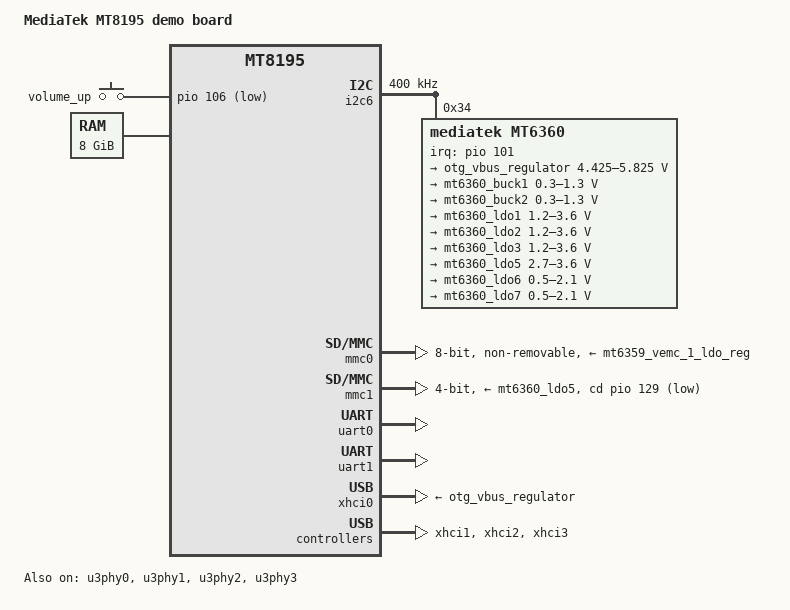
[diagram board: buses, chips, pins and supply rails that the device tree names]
// SPDX-License-Identifier: (GPL-2.0 OR MIT)
/*
 * Copyright (C) 2022 BayLibre, SAS.
 * Author: Fabien Parent <fparent@baylibre.com>
 */
/dts-v1/;

#include "mt8195.dtsi"
#include "mt6359.dtsi"

#include <dt-bindings/gpio/gpio.h>
#include <dt-bindings/input/input.h>
#include <dt-bindings/pinctrl/mt8195-pinfunc.h>
#include <dt-bindings/regulator/mediatek,mt6360-regulator.h>

/ {
	model = "MediaTek MT8195 demo board";
	compatible = "mediatek,mt8195-demo", "mediatek,mt8195";

	aliases {
		serial0 = &uart0;
	};

	chosen {
		stdout-path = "serial0:921600n8";
	};

	firmware {
		optee {
			compatible = "linaro,optee-tz";
			method = "smc";
		};
	};

	gpio-keys {
		compatible = "gpio-keys";
		pinctrl-names = "default";
		pinctrl-0 = <&gpio_keys_pins>;

		key-0 {
			gpios = <&pio 106 GPIO_ACTIVE_LOW>;
			label = "volume_up";
			linux,code = <KEY_VOLUMEUP>;
			wakeup-source;
			debounce-interval = <15>;
		};
	};

	memory@40000000 {
		device_type = "memory";
		reg = <0 0x40000000 0x2 0x00000000>;
	};

	reserved-memory {
		#address-cells = <2>;
		#size-cells = <2>;
		ranges;

		/*
		 * 12 MiB reserved for OP-TEE (BL32)
		 * +-----------------------+ 0x43e0_0000
		 * |      SHMEM 2MiB       |
		 * +-----------------------+ 0x43c0_0000
		 * |        | TA_RAM  8MiB |
		 * + TZDRAM +--------------+ 0x4340_0000
		 * |        | TEE_RAM 2MiB |
		 * +-----------------------+ 0x4320_0000
		 */
		optee_reserved: optee@43200000 {
			no-map;
			reg = <0 0x43200000 0 0x00c00000>;
		};

		scp_mem: memory@50000000 {
			compatible = "shared-dma-pool";
			reg = <0 0x50000000 0 0x2900000>;
			no-map;
		};

		vpu_mem: memory@53000000 {
			compatible = "shared-dma-pool";
			reg = <0 0x53000000 0 0x1400000>; /* 20 MB */
		};

		/* 2 MiB reserved for ARM Trusted Firmware (BL31) */
		bl31_secmon_mem: memory@54600000 {
			no-map;
			reg = <0 0x54600000 0x0 0x200000>;
		};

		snd_dma_mem: memory@60000000 {
			compatible = "shared-dma-pool";
			reg = <0 0x60000000 0 0x1100000>;
			no-map;
		};

		apu_mem: memory@62000000 {
			compatible = "shared-dma-pool";
			reg = <0 0x62000000 0 0x1400000>; /* 20 MB */
		};
	};
};

&i2c6 {
	clock-frequency = <400000>;
	pinctrl-0 = <&i2c6_pins>;
	pinctrl-names = "default";
	status = "okay";

	mt6360: pmic@34 {
		compatible = "mediatek,mt6360";
		reg = <0x34>;
		interrupt-controller;
		interrupts-extended = <&pio 101 IRQ_TYPE_EDGE_FALLING>;
		interrupt-names = "IRQB";

		charger {
			compatible = "mediatek,mt6360-chg";
			richtek,vinovp-microvolt = <14500000>;

			otg_vbus_regulator: usb-otg-vbus-regulator {
				regulator-compatible = "usb-otg-vbus";
				regulator-name = "usb-otg-vbus";
				regulator-min-microvolt = <4425000>;
				regulator-max-microvolt = <5825000>;
			};
		};

		regulator {
			compatible = "mediatek,mt6360-regulator";
			LDO_VIN3-supply = <&mt6360_buck2>;

			mt6360_buck1: buck1 {
				regulator-compatible = "BUCK1";
				regulator-name = "mt6360,buck1";
				regulator-min-microvolt = <300000>;
				regulator-max-microvolt = <1300000>;
				regulator-allowed-modes = <MT6360_OPMODE_NORMAL
							   MT6360_OPMODE_LP
							   MT6360_OPMODE_ULP>;
				regulator-always-on;
			};

			mt6360_buck2: buck2 {
				regulator-compatible = "BUCK2";
				regulator-name = "mt6360,buck2";
				regulator-min-microvolt = <300000>;
				regulator-max-microvolt = <1300000>;
				regulator-allowed-modes = <MT6360_OPMODE_NORMAL
							   MT6360_OPMODE_LP
							   MT6360_OPMODE_ULP>;
				regulator-always-on;
			};

			mt6360_ldo1: ldo1 {
				regulator-compatible = "LDO1";
				regulator-name = "mt6360,ldo1";
				regulator-min-microvolt = <1200000>;
				regulator-max-microvolt = <3600000>;
				regulator-allowed-modes = <MT6360_OPMODE_NORMAL
							   MT6360_OPMODE_LP>;
			};

			mt6360_ldo2: ldo2 {
				regulator-compatible = "LDO2";
				regulator-name = "mt6360,ldo2";
				regulator-min-microvolt = <1200000>;
				regulator-max-microvolt = <3600000>;
				regulator-allowed-modes = <MT6360_OPMODE_NORMAL
							   MT6360_OPMODE_LP>;
			};

			mt6360_ldo3: ldo3 {
				regulator-compatible = "LDO3";
				regulator-name = "mt6360,ldo3";
				regulator-min-microvolt = <1200000>;
				regulator-max-microvolt = <3600000>;
				regulator-allowed-modes = <MT6360_OPMODE_NORMAL
							   MT6360_OPMODE_LP>;
			};

			mt6360_ldo5: ldo5 {
				regulator-compatible = "LDO5";
				regulator-name = "mt6360,ldo5";
				regulator-min-microvolt = <2700000>;
				regulator-max-microvolt = <3600000>;
				regulator-allowed-modes = <MT6360_OPMODE_NORMAL
							   MT6360_OPMODE_LP>;
			};

			mt6360_ldo6: ldo6 {
				regulator-compatible = "LDO6";
				regulator-name = "mt6360,ldo6";
				regulator-min-microvolt = <500000>;
				regulator-max-microvolt = <2100000>;
				regulator-allowed-modes = <MT6360_OPMODE_NORMAL
							   MT6360_OPMODE_LP>;
			};

			mt6360_ldo7: ldo7 {
				regulator-compatible = "LDO7";
				regulator-name = "mt6360,ldo7";
				regulator-min-microvolt = <500000>;
				regulator-max-microvolt = <2100000>;
				regulator-allowed-modes = <MT6360_OPMODE_NORMAL
							   MT6360_OPMODE_LP>;
				regulator-always-on;
			};
		};
	};
};

&mmc0 {
	status = "okay";
	pinctrl-names = "default", "state_uhs";
	pinctrl-0 = <&mmc0_default_pins>;
	pinctrl-1 = <&mmc0_uhs_pins>;
	bus-width = <8>;
	max-frequency = <200000000>;
	cap-mmc-highspeed;
	mmc-hs200-1_8v;
	mmc-hs400-1_8v;
	cap-mmc-hw-reset;
	no-sdio;
	no-sd;
	hs400-ds-delay = <0x14c11>;
	vmmc-supply = <&mt6359_vemc_1_ldo_reg>;
	vqmmc-supply = <&mt6359_vufs_ldo_reg>;
	non-removable;
};

&mmc1 {
	pinctrl-names = "default", "state_uhs";
	pinctrl-0 = <&mmc1_default_pins>;
	pinctrl-1 = <&mmc1_uhs_pins>;
	cd-gpios = <&pio 129 GPIO_ACTIVE_LOW>;
	bus-width = <4>;
	max-frequency = <200000000>;
	cap-sd-highspeed;
	sd-uhs-sdr50;
	sd-uhs-sdr104;
	vmmc-supply = <&mt6360_ldo5>;
	vqmmc-supply = <&mt6360_ldo3>;
	status = "okay";
};

&mt6359_vbbck_ldo_reg {
	regulator-always-on;
};

&mt6359_vcore_buck_reg {
	regulator-always-on;
};

&mt6359_vgpu11_buck_reg {
	regulator-always-on;
};

&mt6359_vproc1_buck_reg {
	regulator-always-on;
};

&mt6359_vproc2_buck_reg {
	regulator-always-on;
};

&mt6359_vpu_buck_reg {
	regulator-always-on;
};

&mt6359_vrf12_ldo_reg {
	regulator-always-on;
};

&mt6359_vsram_md_ldo_reg {
	regulator-always-on;
};

&mt6359_vsram_others_ldo_reg {
	regulator-always-on;
};

&pio {
	gpio_keys_pins: gpio-keys-pins {
		pins {
			pinmux = <PINMUX_GPIO106__FUNC_GPIO106>;
			input-enable;
		};
	};

	i2c6_pins: i2c6-pins {
		pins {
			pinmux = <PINMUX_GPIO25__FUNC_SDA6>,
				 <PINMUX_GPIO26__FUNC_SCL6>;
			bias-pull-up;
		};
	};

	mmc0_default_pins: mmc0-default-pins {
		pins-clk {
			pinmux = <PINMUX_GPIO122__FUNC_MSDC0_CLK>;
			drive-strength = <MTK_DRIVE_6mA>;
			bias-pull-down = <MTK_PUPD_SET_R1R0_10>;
		};

		pins-cmd-dat {
			pinmux = <PINMUX_GPIO126__FUNC_MSDC0_DAT0>,
				 <PINMUX_GPIO125__FUNC_MSDC0_DAT1>,
				 <PINMUX_GPIO124__FUNC_MSDC0_DAT2>,
				 <PINMUX_GPIO123__FUNC_MSDC0_DAT3>,
				 <PINMUX_GPIO119__FUNC_MSDC0_DAT4>,
				 <PINMUX_GPIO118__FUNC_MSDC0_DAT5>,
				 <PINMUX_GPIO117__FUNC_MSDC0_DAT6>,
				 <PINMUX_GPIO116__FUNC_MSDC0_DAT7>,
				 <PINMUX_GPIO121__FUNC_MSDC0_CMD>;
			input-enable;
			drive-strength = <MTK_DRIVE_6mA>;
			bias-pull-up = <MTK_PUPD_SET_R1R0_01>;
		};

		pins-rst {
			pinmux = <PINMUX_GPIO120__FUNC_MSDC0_RSTB>;
			drive-strength = <MTK_DRIVE_6mA>;
			bias-pull-up = <MTK_PUPD_SET_R1R0_01>;
		};
	};

	mmc0_uhs_pins: mmc0-uhs-pins {
		pins-clk {
			pinmux = <PINMUX_GPIO122__FUNC_MSDC0_CLK>;
			drive-strength = <MTK_DRIVE_8mA>;
			bias-pull-down = <MTK_PUPD_SET_R1R0_10>;
		};

		pins-cmd-dat {
			pinmux = <PINMUX_GPIO126__FUNC_MSDC0_DAT0>,
				 <PINMUX_GPIO125__FUNC_MSDC0_DAT1>,
				 <PINMUX_GPIO124__FUNC_MSDC0_DAT2>,
				 <PINMUX_GPIO123__FUNC_MSDC0_DAT3>,
				 <PINMUX_GPIO119__FUNC_MSDC0_DAT4>,
				 <PINMUX_GPIO118__FUNC_MSDC0_DAT5>,
				 <PINMUX_GPIO117__FUNC_MSDC0_DAT6>,
				 <PINMUX_GPIO116__FUNC_MSDC0_DAT7>,
				 <PINMUX_GPIO121__FUNC_MSDC0_CMD>;
			input-enable;
			drive-strength = <MTK_DRIVE_8mA>;
			bias-pull-up = <MTK_PUPD_SET_R1R0_01>;
		};

		pins-ds {
			pinmux = <PINMUX_GPIO127__FUNC_MSDC0_DSL>;
			drive-strength = <MTK_DRIVE_8mA>;
			bias-pull-down = <MTK_PUPD_SET_R1R0_10>;
		};

		pins-rst {
			pinmux = <PINMUX_GPIO120__FUNC_MSDC0_RSTB>;
			drive-strength = <MTK_DRIVE_8mA>;
			bias-pull-up = <MTK_PUPD_SET_R1R0_01>;
		};
	};

	mmc1_default_pins: mmc1-default-pins {
		pins-clk {
			pinmux = <PINMUX_GPIO111__FUNC_MSDC1_CLK>;
			drive-strength = <MTK_DRIVE_8mA>;
			bias-pull-down = <MTK_PUPD_SET_R1R0_10>;
		};

		pins-cmd-dat {
			pinmux = <PINMUX_GPIO110__FUNC_MSDC1_CMD>,
				 <PINMUX_GPIO112__FUNC_MSDC1_DAT0>,
				 <PINMUX_GPIO113__FUNC_MSDC1_DAT1>,
				 <PINMUX_GPIO114__FUNC_MSDC1_DAT2>,
				 <PINMUX_GPIO115__FUNC_MSDC1_DAT3>;
			input-enable;
			drive-strength = <MTK_DRIVE_8mA>;
			bias-pull-up = <MTK_PUPD_SET_R1R0_01>;
		};

		pins-insert {
			pinmux = <PINMUX_GPIO129__FUNC_GPIO129>;
			bias-pull-up;
		};
	};

	mmc1_uhs_pins: mmc1-uhs-pins {
		pins-clk {
			pinmux = <PINMUX_GPIO111__FUNC_MSDC1_CLK>;
			drive-strength = <MTK_DRIVE_8mA>;
			bias-pull-down = <MTK_PUPD_SET_R1R0_10>;
		};

		pins-cmd-dat {
			pinmux = <PINMUX_GPIO110__FUNC_MSDC1_CMD>,
				 <PINMUX_GPIO112__FUNC_MSDC1_DAT0>,
				 <PINMUX_GPIO113__FUNC_MSDC1_DAT1>,
				 <PINMUX_GPIO114__FUNC_MSDC1_DAT2>,
				 <PINMUX_GPIO115__FUNC_MSDC1_DAT3>;
			input-enable;
			drive-strength = <MTK_DRIVE_8mA>;
			bias-pull-up = <MTK_PUPD_SET_R1R0_01>;
		};
	};

	uart0_pins: uart0-pins {
		pins {
			pinmux = <PINMUX_GPIO98__FUNC_UTXD0>,
				 <PINMUX_GPIO99__FUNC_URXD0>;
		};
	};

	uart1_pins: uart1-pins {
		pins {
			pinmux = <PINMUX_GPIO102__FUNC_UTXD1>,
				 <PINMUX_GPIO103__FUNC_URXD1>;
		};
	};
};


&pmic {
	interrupts-extended = <&pio 222 IRQ_TYPE_LEVEL_HIGH>;
};

&uart0 {
	pinctrl-names = "default";
	pinctrl-0 = <&uart0_pins>;
	status = "okay";
};

&uart1 {
	pinctrl-names = "default";
	pinctrl-0 = <&uart1_pins>;
	status = "okay";
};

&u3phy0 {
	status = "okay";
};

&u3phy1 {
	status = "okay";
};

&u3phy2 {
	status = "okay";
};

&u3phy3 {
	status = "okay";
};

&xhci0 {
	vusb33-supply = <&mt6359_vusb_ldo_reg>;
	vbus-supply = <&otg_vbus_regulator>;
	status = "okay";
};

&xhci1 {
	vusb33-supply = <&mt6359_vusb_ldo_reg>;
	status = "okay";
};

&xhci2 {
	vusb33-supply = <&mt6359_vusb_ldo_reg>;
	status = "okay";
};

&xhci3 {
	vusb33-supply = <&mt6359_vusb_ldo_reg>;
	status = "okay";
};
